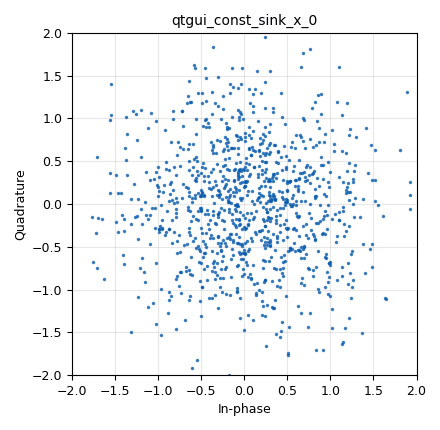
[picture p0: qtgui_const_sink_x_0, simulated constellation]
<?xml version='1.0' encoding='utf-8'?>
<?grc format='1' created='3.7.10'?>
<flow_graph>
<block>
<key>options</key>
<param><key>id</key><value>qpsk_demod</value></param>
<param><key>category</key><value>Custom</value></param>
<param><key>generate_options</key><value>qt_gui</value></param>
</block>
<block>
<key>variable</key>
<param><key>id</key><value>samp_rate</value></param>
<param><key>value</key><value>32000</value></param>
</block>
<block>
<key>analog_noise_source_x</key>
<param><key>id</key><value>analog_noise_source_x_0</value></param>
<param><key>amp</key><value>1</value></param>
<param><key>noise_type</key><value>analog.GR_GAUSSIAN</value></param>
<param><key>type</key><value>complex</value></param>
<param><key>seed</key><value>0</value></param>
</block>
<block>
<key>blocks_char_to_float</key>
<param><key>id</key><value>blocks_char_to_float_0</value></param>
<param><key>scale</key><value>4</value></param>
</block>
<block>
<key>blocks_throttle</key>
<param><key>id</key><value>blocks_throttle_0</value></param>
<param><key>samples_per_second</key><value>samp_rate</value></param>
<param><key>type</key><value>complex</value></param>
</block>
<block>
<key>python_tutorial_qpsk_demod_py_cb</key>
<param><key>id</key><value>python_tutorial_qpsk_demod_py_cb_0</value></param>
<param><key>gray_code</key><value>1</value></param>
</block>
<block>
<key>qtgui_const_sink_x</key>
<param><key>id</key><value>qtgui_const_sink_x_0</value></param>
<param><key>size</key><value>1024</value></param>
<param><key>type</key><value>complex</value></param>
</block>
<block>
<key>qtgui_time_sink_x</key>
<param><key>id</key><value>qtgui_time_sink_x_0</value></param>
<param><key>color1</key><value>"blue"</value></param>
<param><key>label1</key><value></value></param>
<param><key>size</key><value>1024</value></param>
<param><key>srate</key><value>samp_rate</value></param>
<param><key>type</key><value>float</value></param>
</block>
<connection><source_block_id>analog_noise_source_x_0</source_block_id><sink_block_id>blocks_throttle_0</sink_block_id><source_key>0</source_key><sink_key>0</sink_key></connection>
<connection><source_block_id>blocks_char_to_float_0</source_block_id><sink_block_id>qtgui_time_sink_x_0</sink_block_id><source_key>0</source_key><sink_key>0</sink_key></connection>
<connection><source_block_id>blocks_throttle_0</source_block_id><sink_block_id>python_tutorial_qpsk_demod_py_cb_0</sink_block_id><source_key>0</source_key><sink_key>0</sink_key></connection>
<connection><source_block_id>blocks_throttle_0</source_block_id><sink_block_id>qtgui_const_sink_x_0</sink_block_id><source_key>0</source_key><sink_key>0</sink_key></connection>
<connection><source_block_id>python_tutorial_qpsk_demod_py_cb_0</source_block_id><sink_block_id>blocks_char_to_float_0</sink_block_id><source_key>0</source_key><sink_key>0</sink_key></connection>
</flow_graph>
